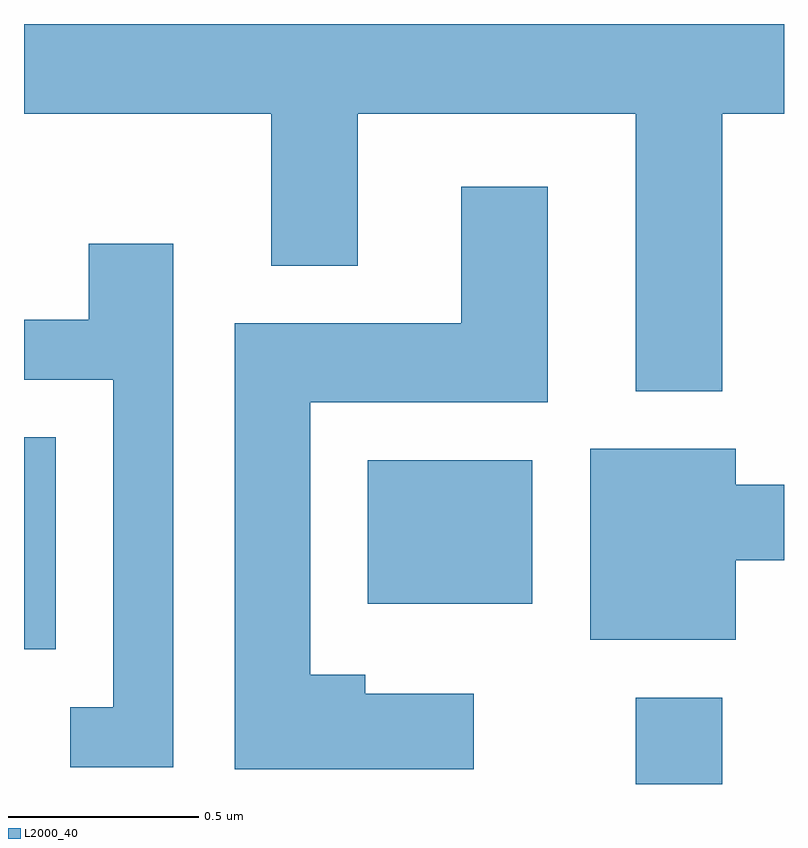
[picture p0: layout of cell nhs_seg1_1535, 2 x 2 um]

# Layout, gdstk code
import gdstk
lib = gdstk.Library(unit=1e-6, precision=1e-09)
def R(c, l, rs):  # rectangles x0, y0, x1, y1
    for r in rs: c.add(gdstk.rectangle(r[:2], r[2:], *l))
def P(c, l, *ps):  # polygons
    for p in ps: c.add(gdstk.Polygon(p, *l))
L2000_40 = (2000, 40)

nhs_seg1_1535 = lib.new_cell('nhs_seg1_1535')
R(nhs_seg1_1535, L2000_40, [(198.221,886.712,198.449,886.939), (196.611,887.066,196.694,887.624), (197.516,887.186,197.949,887.564)])
P(nhs_seg1_1535, L2000_40, [(198.449,888.476),(198.611,888.476),(198.611,888.712),(196.611,888.712),(196.611,888.476),(197.261,888.476),(197.261,888.076),(197.489,888.076),(197.489,888.476),(198.221,888.476),(198.221,887.746),(198.449,887.746)],
  [(197.794,886.949),(197.509,886.949),(197.509,886.999),(197.364,886.999),(197.364,887.716),(197.989,887.716),(197.989,888.284),(197.761,888.284),(197.761,887.924),(197.166,887.924),(197.166,886.751),(197.794,886.751)],
  [(197.004,888.134),(196.781,888.134),(196.781,887.934),(196.611,887.934),(196.611,887.776),(196.846,887.776),(196.846,886.914),(196.733,886.914),(196.733,886.756),(197.004,886.756)],
  [(198.484,887.301),(198.611,887.301),(198.611,887.499),(198.484,887.499),(198.484,887.594),(198.101,887.594),(198.101,887.091),(198.484,887.091)])

lib.write_gds('nhs_seg1_1535.gds')
